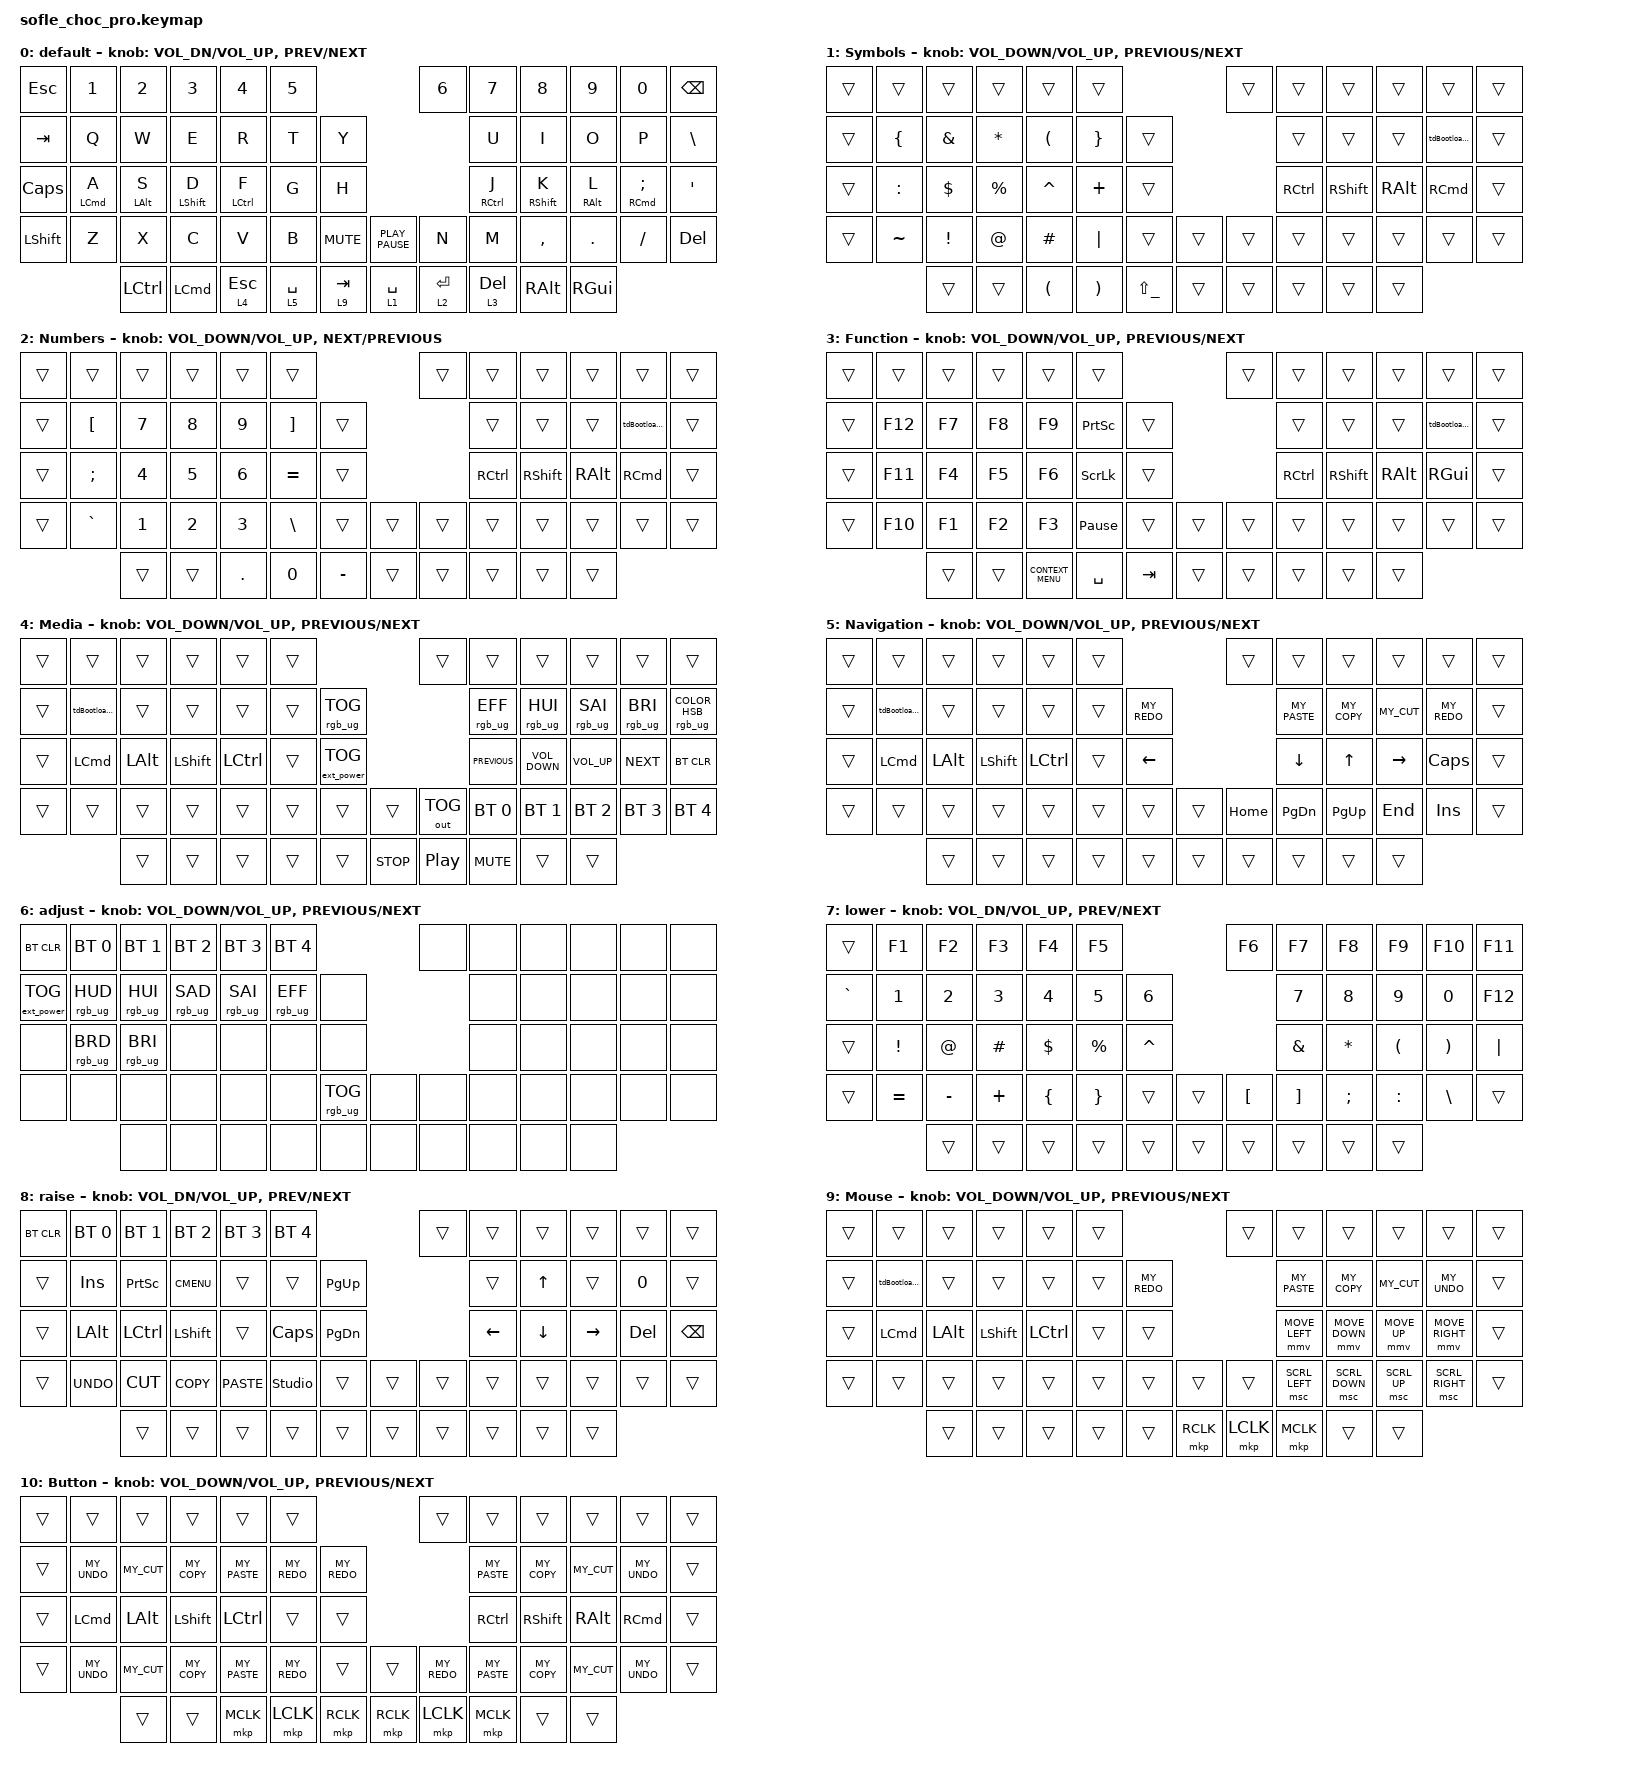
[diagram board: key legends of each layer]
/*
* Copyright (c) 2020 The ZMK Contributors
*
* SPDX-License-Identifier: MIT
*/

#include <behaviors.dtsi>
#include <dt-bindings/zmk/bt.h>
#include <dt-bindings/zmk/ext_power.h>
#include <dt-bindings/zmk/keys.h>
#include <dt-bindings/zmk/outputs.h>
#include <dt-bindings/zmk/pointing.h>
#include <dt-bindings/zmk/rgb.h>

#define BASE 0
#define LOWER 1
#define RAISE 2
#define ADJUST 3

/ {
    // Activate ADJUST layer by pressing raise and lower

    conditional_layers {
        compatible = "zmk,conditional-layers";

        adjust_layer {
            if-layers = <7 8>;
            then-layer = <6>;
        };
    };

    behaviors {
        hmShiftLeft: hmShiftLeft {
            compatible = "zmk,behavior-hold-tap";
            label = "Home Row Mod - Shift Left";
            bindings = <&kp>, <&kp>;

            #binding-cells = <2>;
            tapping-term-ms = <200>;
            hold-trigger-key-positions = <6 7 8 9 10 11 18 19 20 21 22 23 30 31 32 33 34 35 43 44 45 46 47 48 49 55 56 57 58 59>;
            flavor = "hold-preferred";
            hold-while-undecided;
            hold-trigger-on-release;
        };

        hmShiftRight: hmShiftRight {
            compatible = "zmk,behavior-hold-tap";
            label = "Home Row Mod - Shift Right";
            bindings = <&kp>, <&kp>;

            #binding-cells = <2>;
            tapping-term-ms = <200>;
            hold-trigger-key-positions = <0 1 2 3 4 5 12 13 14 15 16 17 24 25 26 27 28 29 36 37 38 39 40 41 42 50 51 52 53 54>;
            flavor = "hold-preferred";
            hold-while-undecided;
            hold-trigger-on-release;
        };

        hmLeft: hmLeft {
            compatible = "zmk,behavior-hold-tap";
            label = "Home Row Mod - Left";
            bindings = <&kp>, <&kp>;

            #binding-cells = <2>;
            tapping-term-ms = <150>;
            flavor = "tap-preferred";
            hold-trigger-key-positions = <25 26 27 28>;
            quick-tap-ms = <200>;
        };

        hmRight: hmRight {
            compatible = "zmk,behavior-hold-tap";
            label = "Home Row Mod - Right";
            bindings = <&kp>, <&kp>;

            #binding-cells = <2>;
            tapping-term-ms = <150>;
            flavor = "tap-preferred";
            hold-trigger-key-positions = <31 32 33 34>;
            quick-tap-ms = <200>;
        };

        tdBootloader: tdBootloader {
            compatible = "zmk,behavior-tap-dance";
            label = "Tape Dance - Double tap Bootloader";
            #binding-cells = <0>;
            bindings = <&none>, <&bootloader>;
        };
    };

    macros {
        MY_COPY: MY_COPY {
            compatible = "zmk,behavior-macro";
            #binding-cells = <0>;
            bindings = <&kp LG(C)>;
            label = "MY_COPY";
        };

        MY_PASTE: MY_PASTE {
            compatible = "zmk,behavior-macro";
            #binding-cells = <0>;
            bindings = <&kp LG(V)>;
            label = "MY_PASTE";
        };

        MY_UNDO: MY_UNDO {
            compatible = "zmk,behavior-macro";
            #binding-cells = <0>;
            bindings = <&kp LG(Z)>;
            label = "MY_UNDO";
        };

        MY_REDO: MY_REDO {
            compatible = "zmk,behavior-macro";
            #binding-cells = <0>;
            bindings = <&kp LG(LS(Z))>;
            label = "MY_REDO";
        };

        MY_CUT: MY_CUT {
            compatible = "zmk,behavior-macro";
            #binding-cells = <0>;
            bindings = <&kp LG(X)>;
            label = "MY_CUT";
        };
    };

    keymap {
        compatible = "zmk,keymap";

        qwerty {
            display-name = "default";

            // ------------------------------------------------------------------------------------------------------------
            // |   `   |  1  |  2  |  3   |  4   |  5   |                   |  6   |  7    |  8    |  9   |   0   |   `   |
            // |  ESC  |  Q  |  W  |  E   |  R   |  T   |                   |  Y   |  U    |  I    |  O   |   P   | BKSPC |
            // |  TAB  |  A  |  S  |  D   |  F   |  G   |                   |  H   |  J    |  K    |  L   |   ;   |   '   |
            // | SHIFT |  Z  |  X  |  C   |  V   |  B   |  MUTE  |  | PLAY  |  N   |  M    |  ,    |  .   |   /   | SHIFT |
            //               | GUI | ALT  | CTRL | LOWER|  ENTER |  | SPACE | RAISE| CTRL  | ALT   | GUI  |

            bindings = <
&kp ESCAPE    &kp N1                  &kp N2              &kp N3                &kp N4                  &kp N5                                     &kp N6        &kp N7                    &kp N8                  &kp N9                &kp N0                            &kp BACKSPACE
&kp TAB       &kp Q                   &kp W               &kp E                 &kp R                   &kp T        &kp Y                                       &kp U                     &kp I                   &kp O                 &kp P                             &kp BACKSLASH
&kp CAPSLOCK  &hmLeft LEFT_COMMAND A  &hmLeft LEFT_ALT S  &hmLeft LEFT_SHIFT D  &hmLeft LEFT_CONTROL F  &kp G        &kp H                                       &hmRight RIGHT_CONTROL J  &hmRight RIGHT_SHIFT K  &hmRight RIGHT_ALT L  &hmRight RIGHT_COMMAND SEMICOLON  &kp SQT
&kp LSHFT     &kp Z                   &kp X               &kp C                 &kp V                   &kp B        &kp K_MUTE  &kp K_PLAY_PAUSE  &kp N         &kp M                     &kp COMMA               &kp DOT               &kp FSLH                          &kp DELETE
                                      &kp LEFT_CONTROL    &kp LEFT_COMMAND      &lt 4 ESCAPE            &lt 5 SPACE  &lt 9 TAB   &lt 1 SPACE       &lt 2 RETURN  &lt 3 DELETE              &kp RALT                &kp RGUI
            >;

            sensor-bindings = <&inc_dec_kp C_VOL_DN C_VOL_UP &inc_dec_kp C_PREV C_NEXT>;
            label = "Qwerty";
        };

        sym {
            bindings = <
&trans  &trans          &trans           &trans       &trans     &trans                                  &trans  &trans             &trans           &trans         &trans             &trans
&trans  &kp LEFT_BRACE  &kp AMPS         &kp STAR     &kp LPAR   &kp RIGHT_BRACE  &trans                         &trans             &trans           &trans         &tdBootloader      &trans
&trans  &kp COLON       &kp DLLR         &kp PERCENT  &kp CARET  &kp PLUS         &trans                         &kp RIGHT_CONTROL  &kp RIGHT_SHIFT  &kp RIGHT_ALT  &kp RIGHT_COMMAND  &trans
&trans  &kp TILDE       &kp EXCLAMATION  &kp AT       &kp HASH   &kp PIPE         &trans         &trans  &trans  &trans             &trans           &trans         &trans             &trans
                        &trans           &trans       &kp LPAR   &kp RPAR         &kp LS(UNDER)  &trans  &trans  &trans             &trans           &trans
            >;

            label = "Symbols";
            sensor-bindings =
                <&inc_dec_kp C_VOLUME_DOWN C_VOLUME_UP>,
                <&inc_dec_kp C_PREVIOUS C_NEXT>;
        };

        num {
            bindings = <
&trans  &trans            &trans        &trans        &trans        &trans                                &trans  &trans             &trans           &trans         &trans             &trans
&trans  &kp LEFT_BRACKET  &kp N7        &kp NUMBER_8  &kp NUMBER_9  &kp RIGHT_BRACKET  &trans                     &trans             &trans           &trans         &tdBootloader      &trans
&trans  &kp SEMI          &kp NUMBER_4  &kp NUMBER_5  &kp NUMBER_6  &kp EQUAL          &trans                     &kp RIGHT_CONTROL  &kp RIGHT_SHIFT  &kp RIGHT_ALT  &kp RIGHT_COMMAND  &trans
&trans  &kp GRAVE         &kp NUMBER_1  &kp NUMBER_2  &kp NUMBER_3  &kp BSLH           &trans     &trans  &trans  &trans             &trans           &trans         &trans             &trans
                          &trans        &trans        &kp DOT       &kp N0             &kp MINUS  &trans  &trans  &trans             &trans           &trans
            >;

            label = "Numbers";
            sensor-bindings =
                <&inc_dec_kp C_VOLUME_DOWN C_VOLUME_UP>,
                <&inc_dec_kp C_NEXT C_PREVIOUS>;
        };

        fun {
            bindings = <
&trans  &trans   &trans  &trans  &trans              &trans                            &trans  &trans     &trans     &trans    &trans         &trans
&trans  &kp F12  &kp F7  &kp F8  &kp F9              &kp PRINTSCREEN  &trans                   &trans     &trans     &trans    &tdBootloader  &trans
&trans  &kp F11  &kp F4  &kp F5  &kp F6              &kp SCROLLLOCK   &trans                   &kp RCTRL  &kp RSHFT  &kp RALT  &kp RGUI       &trans
&trans  &kp F10  &kp F1  &kp F2  &kp F3              &kp PAUSE_BREAK  &trans   &trans  &trans  &trans     &trans     &trans    &trans         &trans
                 &trans  &trans  &kp K_CONTEXT_MENU  &kp SPACE        &kp TAB  &trans  &trans  &trans     &trans     &trans
            >;

            label = "Function";
            sensor-bindings =
                <&inc_dec_kp C_VOLUME_DOWN C_VOLUME_UP>,
                <&inc_dec_kp C_PREVIOUS C_NEXT>;
        };

        media {
            bindings = <
&trans  &trans            &trans        &trans          &trans            &trans                                 &trans            &trans           &trans             &trans           &trans           &trans
&trans  &tdBootloader     &trans        &trans          &trans            &trans  &rgb_ug RGB_TOG                                  &rgb_ug RGB_EFF  &rgb_ug RGB_HUI    &rgb_ug RGB_SAI  &rgb_ug RGB_BRI  &rgb_ug RGB_COLOR_HSB(55,100,93)
&trans  &kp LEFT_COMMAND  &kp LEFT_ALT  &kp LEFT_SHIFT  &kp LEFT_CONTROL  &trans  &ext_power EP_TOG                                &kp C_PREVIOUS   &kp C_VOLUME_DOWN  &kp C_VOLUME_UP  &kp C_NEXT       &bt BT_CLR
&trans  &trans            &trans        &trans          &trans            &trans  &trans             &trans      &out OUT_TOG      &bt BT_SEL 0     &bt BT_SEL 1       &bt BT_SEL 2     &bt BT_SEL 3     &bt BT_SEL 4
                          &trans        &trans          &trans            &trans  &trans             &kp C_STOP  &kp C_PLAY_PAUSE  &kp C_MUTE       &trans             &trans
            >;

            label = "Media";
            sensor-bindings =
                <&inc_dec_kp C_VOLUME_DOWN C_VOLUME_UP>,
                <&inc_dec_kp C_PREVIOUS C_NEXT>;
        };

        nav {
            bindings = <
&trans  &trans            &trans        &trans          &trans            &trans                    &trans    &trans         &trans       &trans     &trans        &trans
&trans  &tdBootloader     &trans        &trans          &trans            &trans  &MY_REDO                    &MY_PASTE      &MY_COPY     &MY_CUT    &MY_REDO      &trans
&trans  &kp LEFT_COMMAND  &kp LEFT_ALT  &kp LEFT_SHIFT  &kp LEFT_CONTROL  &trans  &kp LEFT                    &kp DOWN       &kp UP       &kp RIGHT  &kp CAPSLOCK  &trans
&trans  &trans            &trans        &trans          &trans            &trans  &trans    &trans  &kp HOME  &kp PAGE_DOWN  &kp PAGE_UP  &kp END    &kp INS       &trans
                          &trans        &trans          &trans            &trans  &trans    &trans  &trans    &trans         &trans       &trans
            >;

            label = "Navigation";
            sensor-bindings =
                <&inc_dec_kp C_VOLUME_DOWN C_VOLUME_UP>,
                <&inc_dec_kp C_PREVIOUS C_NEXT>;
        };

        adjust_layer {
            display-name = "adjust";
            bindings = <
&bt BT_CLR         &bt BT_SEL 0     &bt BT_SEL 1     &bt BT_SEL 2     &bt BT_SEL 3     &bt BT_SEL 4                             &none  &none  &none  &none  &none  &none
&ext_power EP_TOG  &rgb_ug RGB_HUD  &rgb_ug RGB_HUI  &rgb_ug RGB_SAD  &rgb_ug RGB_SAI  &rgb_ug RGB_EFF  &none                          &none  &none  &none  &none  &none
&none              &rgb_ug RGB_BRD  &rgb_ug RGB_BRI  &none            &none            &none            &none                          &none  &none  &none  &none  &none
&none              &none            &none            &none            &none            &none            &rgb_ug RGB_TOG  &none  &none  &none  &none  &none  &none  &none
                                    &none            &none            &none            &none            &none            &none  &none  &none  &none  &none
            >;

            label = "adjust";
            sensor-bindings =
                <&inc_dec_kp C_VOLUME_DOWN C_VOLUME_UP>,
                <&inc_dec_kp C_PREVIOUS C_NEXT>;
        };

        lower_layer {
            display-name = "lower";
            bindings = <
&trans     &kp F1     &kp F2     &kp F3    &kp F4    &kp F5                        &kp F6    &kp F7    &kp F8     &kp F9     &kp F10   &kp F11
&kp GRAVE  &kp N1     &kp N2     &kp N3    &kp N4    &kp N5     &kp N6                       &kp N7    &kp N8     &kp N9     &kp N0    &kp F12
&trans     &kp EXCL   &kp AT     &kp HASH  &kp DLLR  &kp PRCNT  &kp CARET                    &kp AMPS  &kp ASTRK  &kp LPAR   &kp RPAR  &kp PIPE
&trans     &kp EQUAL  &kp MINUS  &kp PLUS  &kp LBRC  &kp RBRC   &trans     &trans  &kp LBKT  &kp RBKT  &kp SEMI   &kp COLON  &kp BSLH  &trans
                      &trans     &trans    &trans    &trans     &trans     &trans  &trans    &trans    &trans     &trans
            >;

            sensor-bindings =
                <&inc_dec_kp C_VOL_DN C_VOL_UP>,
                <&inc_dec_kp C_PREV C_NEXT>;
        };

        raise_layer {
            display-name = "raise";
            bindings = <
&bt BT_CLR  &bt BT_SEL 0  &bt BT_SEL 1  &bt BT_SEL 2  &bt BT_SEL 3  &bt BT_SEL 4                       &trans  &trans    &trans    &trans     &trans   &trans
&trans      &kp INS       &kp PSCRN     &kp K_CMENU   &trans        &trans          &kp PG_UP                  &trans    &kp UP    &trans     &kp N0   &trans
&trans      &kp LALT      &kp LCTRL     &kp LSHFT     &trans        &kp CLCK        &kp PG_DN                  &kp LEFT  &kp DOWN  &kp RIGHT  &kp DEL  &kp BSPC
&trans      &kp K_UNDO    &kp K_CUT     &kp K_COPY    &kp K_PASTE   &studio_unlock  &trans     &trans  &trans  &trans    &trans    &trans     &trans   &trans
                          &trans        &trans        &trans        &trans          &trans     &trans  &trans  &trans    &trans    &trans
            >;

            sensor-bindings =
                <&inc_dec_kp C_VOL_DN C_VOL_UP>,
                <&inc_dec_kp C_PREV C_NEXT>;
        };

        mouse {
            bindings = <
&trans  &trans            &trans        &trans          &trans            &trans                       &trans     &trans          &trans          &trans        &trans           &trans
&trans  &tdBootloader     &trans        &trans          &trans            &trans  &MY_REDO                        &MY_PASTE       &MY_COPY        &MY_CUT       &MY_UNDO         &trans
&trans  &kp LEFT_COMMAND  &kp LEFT_ALT  &kp LEFT_SHIFT  &kp LEFT_CONTROL  &trans  &trans                          &mmv MOVE_LEFT  &mmv MOVE_DOWN  &mmv MOVE_UP  &mmv MOVE_RIGHT  &trans
&trans  &trans            &trans        &trans          &trans            &trans  &trans    &trans     &trans     &msc SCRL_LEFT  &msc SCRL_DOWN  &msc SCRL_UP  &msc SCRL_RIGHT  &trans
                          &trans        &trans          &trans            &trans  &trans    &mkp RCLK  &mkp LCLK  &mkp MCLK       &trans          &trans
            >;

            label = "Mouse";
            sensor-bindings =
                <&inc_dec_kp C_VOLUME_DOWN C_VOLUME_UP>,
                <&inc_dec_kp C_PREVIOUS C_NEXT>;
        };

        button {
            bindings = <
&trans  &trans            &trans        &trans          &trans            &trans                           &trans     &trans             &trans           &trans         &trans             &trans
&trans  &MY_UNDO          &MY_CUT       &MY_COPY        &MY_PASTE         &MY_REDO   &MY_REDO                         &MY_PASTE          &MY_COPY         &MY_CUT        &MY_UNDO           &trans
&trans  &kp LEFT_COMMAND  &kp LEFT_ALT  &kp LEFT_SHIFT  &kp LEFT_CONTROL  &trans     &trans                           &kp RIGHT_CONTROL  &kp RIGHT_SHIFT  &kp RIGHT_ALT  &kp RIGHT_COMMAND  &trans
&trans  &MY_UNDO          &MY_CUT       &MY_COPY        &MY_PASTE         &MY_REDO   &trans     &trans     &MY_REDO   &MY_PASTE          &MY_COPY         &MY_CUT        &MY_UNDO           &trans
                          &trans        &trans          &mkp MCLK         &mkp LCLK  &mkp RCLK  &mkp RCLK  &mkp LCLK  &mkp MCLK          &trans           &trans
            >;

            label = "Button";
            sensor-bindings =
                <&inc_dec_kp C_VOLUME_DOWN C_VOLUME_UP>,
                <&inc_dec_kp C_PREVIOUS C_NEXT>;
        };
    };
};
